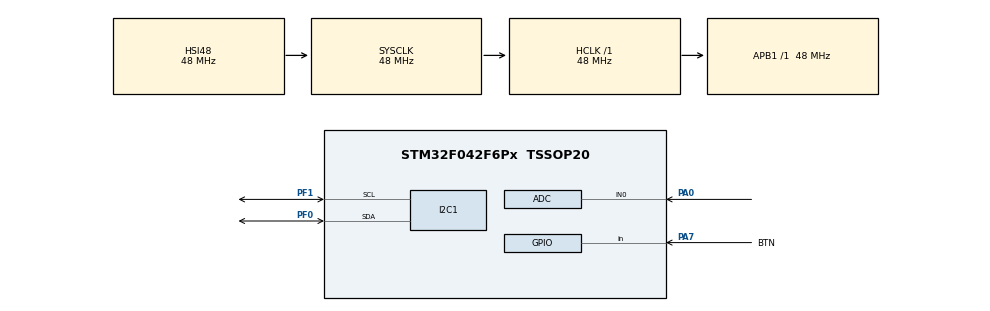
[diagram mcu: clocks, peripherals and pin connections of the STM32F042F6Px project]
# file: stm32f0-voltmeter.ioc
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ADC.ContinuousConvMode=ENABLE
Dma.ADC.0.Direction=DMA_PERIPH_TO_MEMORY
Dma.ADC.0.Instance=DMA1_Channel1
Dma.ADC.0.MemDataAlignment=DMA_MDATAALIGN_HALFWORD
Dma.ADC.0.MemInc=DMA_MINC_ENABLE
Dma.ADC.0.Mode=DMA_CIRCULAR
Dma.ADC.0.PeriphDataAlignment=DMA_PDATAALIGN_HALFWORD
Dma.ADC.0.PeriphInc=DMA_PINC_DISABLE
Dma.ADC.0.Priority=DMA_PRIORITY_LOW
Dma.Request0=ADC
Mcu.Family=STM32F0
Mcu.Name=STM32F042F6Px
Mcu.Package=TSSOP20
NVIC.DMA1_Channel1_IRQn=true\:0\:0\:false\:false\:true\:false\:true
PA0.Mode=IN0
PA0.Signal=ADC_IN0
PA7.GPIO_Label=BTN
PA7.GPIO_PuPd=GPIO_PULLUP
PA7.Signal=GPIO_Input
PF0-OSC_IN.Mode=I2C
PF0-OSC_IN.Signal=I2C1_SDA
PF1-OSC_OUT.Mode=I2C
PF1-OSC_OUT.Signal=I2C1_SCL
ProjectManager.HeapSize=0x200
ProjectManager.StackSize=0x400
ProjectManager.TargetToolchain=STM32CubeIDE
RCC.AHBFreq_Value=48000000
RCC.APB1Freq_Value=48000000
RCC.APB1TimFreq_Value=48000000
RCC.HCLKFreq_Value=48000000
RCC.SYSCLKFreq_VALUE=48000000
RCC.SYSCLKSource=RCC_SYSCLKSOURCE_HSI48
board=custom

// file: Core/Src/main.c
/* USER CODE BEGIN Header */
/**
  ******************************************************************************
  * @file           : main.c
  * @brief          : Main program body
  ******************************************************************************
  * @attention
  *
  * <h2><center>&copy; Copyright (c) 2020 STMicroelectronics.
  * All rights reserved.</center></h2>
  *
  * This software component is licensed by ST under BSD 3-Clause license,
  * the "License"; You may not use this file except in compliance with the
  * License. You may obtain a copy of the License at:
  *                        opensource.org/licenses/BSD-3-Clause
  *
  ******************************************************************************
  */
/* USER CODE END Header */

#include "main.h"

/* USER CODE BEGIN Includes */
#include "ssd1306.h"
#include "stdio.h"
/* USER CODE END Includes */

/* USER CODE BEGIN PD */
#define ADC_BUFFER_SIZE 256
#define ADC_LSB 0.0008f
/* USER CODE END PD */

ADC_HandleTypeDef hadc;
DMA_HandleTypeDef hdma_adc;

I2C_HandleTypeDef hi2c1;

/* USER CODE BEGIN PV */
uint8_t state;
uint16_t adcBuffer[ADC_BUFFER_SIZE];
/* USER CODE END PV */

void SystemClock_Config(void);
static void MX_GPIO_Init(void);
static void MX_DMA_Init(void);
static void MX_ADC_Init(void);
static void MX_I2C1_Init(void);

int main(void)
{
  /* USER CODE BEGIN 1 */
	GPIO_PinState bitstatus;

  /* USER CODE END 1 */

  /* MCU Configuration--------------------------------------------------------*/

  /* Reset of all peripherals, Initializes the Flash interface and the Systick. */
  HAL_Init();

  /* Configure the system clock */
  SystemClock_Config();

  /* Initialize all configured peripherals */
  MX_GPIO_Init();
  MX_DMA_Init();
  MX_ADC_Init();
  MX_I2C1_Init();
  /* USER CODE BEGIN 2 */
  HAL_ADCEx_Calibration_Start(&hadc);

  ssd1306_Init();

  /* USER CODE END 2 */

  /* Infinite loop */
  /* USER CODE BEGIN WHILE */
  state=0;
  while (1)
  {
    /* USER CODE END WHILE */

    /* USER CODE BEGIN 3 */
	  bitstatus = HAL_GPIO_ReadPin(BTN_GPIO_Port, BTN_Pin);
	  if (state == 0 &&  bitstatus == GPIO_PIN_RESET) {
		  state = 1;
		  HAL_ADC_Start_DMA(&hadc, (uint32_t *) adcBuffer, ADC_BUFFER_SIZE);
	  }
  }
  /* USER CODE END 3 */
}

void SystemClock_Config(void)
{
  RCC_OscInitTypeDef RCC_OscInitStruct = {0};
  RCC_ClkInitTypeDef RCC_ClkInitStruct = {0};
  RCC_PeriphCLKInitTypeDef PeriphClkInit = {0};

  /** Initializes the CPU, AHB and APB busses clocks
  */
  RCC_OscInitStruct.OscillatorType = RCC_OSCILLATORTYPE_HSI|RCC_OSCILLATORTYPE_HSI14
                              |RCC_OSCILLATORTYPE_HSI48;
  RCC_OscInitStruct.HSIState = RCC_HSI_ON;
  RCC_OscInitStruct.HSI48State = RCC_HSI48_ON;
  RCC_OscInitStruct.HSI14State = RCC_HSI14_ON;
  RCC_OscInitStruct.HSICalibrationValue = RCC_HSICALIBRATION_DEFAULT;
  RCC_OscInitStruct.HSI14CalibrationValue = 16;
  RCC_OscInitStruct.PLL.PLLState = RCC_PLL_NONE;
  if (HAL_RCC_OscConfig(&RCC_OscInitStruct) != HAL_OK)
  {
    Error_Handler();
  }
  /** Initializes the CPU, AHB and APB busses clocks
  */
  RCC_ClkInitStruct.ClockType = RCC_CLOCKTYPE_HCLK|RCC_CLOCKTYPE_SYSCLK
                              |RCC_CLOCKTYPE_PCLK1;
  RCC_ClkInitStruct.SYSCLKSource = RCC_SYSCLKSOURCE_HSI48;
  RCC_ClkInitStruct.AHBCLKDivider = RCC_SYSCLK_DIV1;
  RCC_ClkInitStruct.APB1CLKDivider = RCC_HCLK_DIV1;

  if (HAL_RCC_ClockConfig(&RCC_ClkInitStruct, FLASH_LATENCY_1) != HAL_OK)
  {
    Error_Handler();
  }
  PeriphClkInit.PeriphClockSelection = RCC_PERIPHCLK_I2C1;
  PeriphClkInit.I2c1ClockSelection = RCC_I2C1CLKSOURCE_HSI;
  if (HAL_RCCEx_PeriphCLKConfig(&PeriphClkInit) != HAL_OK)
  {
    Error_Handler();
  }
}

static void MX_ADC_Init(void)
{

  ADC_ChannelConfTypeDef sConfig = {0};

  /** Configure the global features of the ADC (Clock, Resolution, Data Alignment and number of conversion)
  */
  hadc.Instance = ADC1;
  hadc.Init.ClockPrescaler = ADC_CLOCK_ASYNC_DIV1;
  hadc.Init.Resolution = ADC_RESOLUTION_12B;
  hadc.Init.DataAlign = ADC_DATAALIGN_RIGHT;
  hadc.Init.ScanConvMode = ADC_SCAN_DIRECTION_FORWARD;
  hadc.Init.EOCSelection = ADC_EOC_SINGLE_CONV;
  hadc.Init.LowPowerAutoWait = DISABLE;
  hadc.Init.LowPowerAutoPowerOff = DISABLE;
  hadc.Init.ContinuousConvMode = ENABLE;
  hadc.Init.DiscontinuousConvMode = DISABLE;
  hadc.Init.ExternalTrigConv = ADC_SOFTWARE_START;
  hadc.Init.ExternalTrigConvEdge = ADC_EXTERNALTRIGCONVEDGE_NONE;
  hadc.Init.DMAContinuousRequests = DISABLE;
  hadc.Init.Overrun = ADC_OVR_DATA_PRESERVED;
  if (HAL_ADC_Init(&hadc) != HAL_OK)
  {
    Error_Handler();
  }
  /** Configure for the selected ADC regular channel to be converted.
  */
  sConfig.Channel = ADC_CHANNEL_0;
  sConfig.Rank = ADC_RANK_CHANNEL_NUMBER;
  sConfig.SamplingTime = ADC_SAMPLETIME_1CYCLE_5;
  if (HAL_ADC_ConfigChannel(&hadc, &sConfig) != HAL_OK)
  {
    Error_Handler();
  }

}

static void MX_I2C1_Init(void)
{

  hi2c1.Instance = I2C1;
  hi2c1.Init.Timing = 0x2000090E;
  hi2c1.Init.OwnAddress1 = 0;
  hi2c1.Init.AddressingMode = I2C_ADDRESSINGMODE_7BIT;
  hi2c1.Init.DualAddressMode = I2C_DUALADDRESS_DISABLE;
  hi2c1.Init.OwnAddress2 = 0;
  hi2c1.Init.OwnAddress2Masks = I2C_OA2_NOMASK;
  hi2c1.Init.GeneralCallMode = I2C_GENERALCALL_DISABLE;
  hi2c1.Init.NoStretchMode = I2C_NOSTRETCH_DISABLE;
  if (HAL_I2C_Init(&hi2c1) != HAL_OK)
  {
    Error_Handler();
  }
  /** Configure Analogue filter
  */
  if (HAL_I2CEx_ConfigAnalogFilter(&hi2c1, I2C_ANALOGFILTER_ENABLE) != HAL_OK)
  {
    Error_Handler();
  }
  /** Configure Digital filter
  */
  if (HAL_I2CEx_ConfigDigitalFilter(&hi2c1, 0) != HAL_OK)
  {
    Error_Handler();
  }

}

static void MX_DMA_Init(void)
{

  /* DMA controller clock enable */
  __HAL_RCC_DMA1_CLK_ENABLE();

  /* DMA interrupt init */
  /* DMA1_Channel1_IRQn interrupt configuration */
  HAL_NVIC_SetPriority(DMA1_Channel1_IRQn, 0, 0);
  HAL_NVIC_EnableIRQ(DMA1_Channel1_IRQn);

}

static void MX_GPIO_Init(void)
{
  GPIO_InitTypeDef GPIO_InitStruct = {0};

  /* GPIO Ports Clock Enable */
  __HAL_RCC_GPIOF_CLK_ENABLE();
  __HAL_RCC_GPIOA_CLK_ENABLE();

  /*Configure GPIO pin : BTN_Pin */
  GPIO_InitStruct.Pin = BTN_Pin;
  GPIO_InitStruct.Mode = GPIO_MODE_INPUT;
  GPIO_InitStruct.Pull = GPIO_PULLUP;
  HAL_GPIO_Init(BTN_GPIO_Port, &GPIO_InitStruct);

}

/* USER CODE BEGIN 4 */
void HAL_ADC_ConvCpltCallback(ADC_HandleTypeDef* hadc)
{
	char displayBuffer[8];

	sprintf(displayBuffer, "%f", (float) adcBuffer[0]*ADC_LSB);
	ssd1306_SetCursor(20, 30);
	ssd1306_WriteString(displayBuffer, Font_11x18, White);
	ssd1306_UpdateScreen();

	state=0;
}
/* USER CODE END 4 */

void Error_Handler(void)
{
}

/************************ (C) COPYRIGHT STMicroelectronics *****END OF FILE****/
